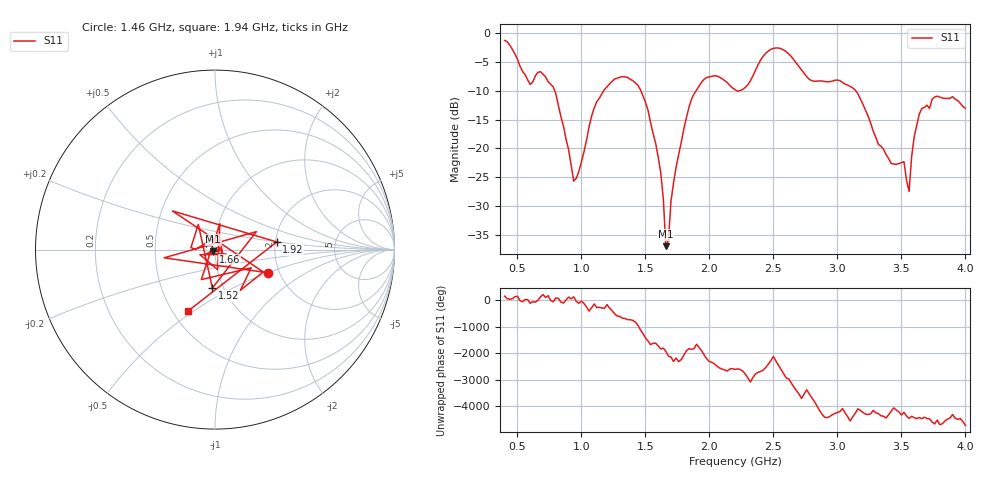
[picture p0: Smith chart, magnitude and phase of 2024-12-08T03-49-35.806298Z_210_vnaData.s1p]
!Created with skrf (http://scikit-rf.org).
# Hz S RI R 50.0
!freq ReS11 ImS11
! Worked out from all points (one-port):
!   181 points, 400 MHz to 4 GHz, reference 50 ohm
!   lowest |S11| = -36.9 dB at 1.66 GHz (marker M1), VSWR 1.03, Z = 49 - j0.977 ohm
!   |S11| at or under -10 dB: 791 MHz to 1.174 GHz (383.4 MHz wide, 39 % of centre); 1.464 GHz to 1.896 GHz (432.3 MHz wide, 25.7 % of centre); 3.142 GHz to end of sweep (the widest 3 of 4)
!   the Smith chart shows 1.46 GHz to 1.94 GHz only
!   S11 on the Smith chart (normalised r, x): 1.46 GHz: 1.75, -0.51; 1.52 GHz: 0.89, -0.40; 1.66 GHz: 0.98, -0.02; 1.92 GHz: 2.04, +0.20; 1.94 GHz: 0.59, -0.48
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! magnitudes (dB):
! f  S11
! 400 MHz  -1.3
! 600 MHz  -8.9
! 680 MHz  -6.7
! 780 MHz  -9.3
! 860 MHz  -16.2
! 940 MHz  -25.7
! 1.12 GHz  -11.9
! 1.3 GHz  -7.7
! 1.46 GHz  -9.8
! 1.52 GHz  -13.4
! 1.62 GHz  -24.2
! 1.66 GHz  -36.9
! 1.68 GHz  -35.9
! 1.7 GHz  -29.1
! 1.76 GHz  -21.0
! 1.84 GHz  -12.9
! 1.92 GHz  -9.2
! 1.94 GHz  -8.5
! 2.2 GHz  -9.8
! 2.48 GHz  -2.8
! 2.66 GHz  -4.7
! 3.1 GHz  -9.3
! 3.42 GHz  -22.6
! 3.52 GHz  -22.3
! 3.56 GHz  -27.5
! 3.6 GHz  -18.0
! 3.66 GHz  -13.1
! 4 GHz  -13.0
